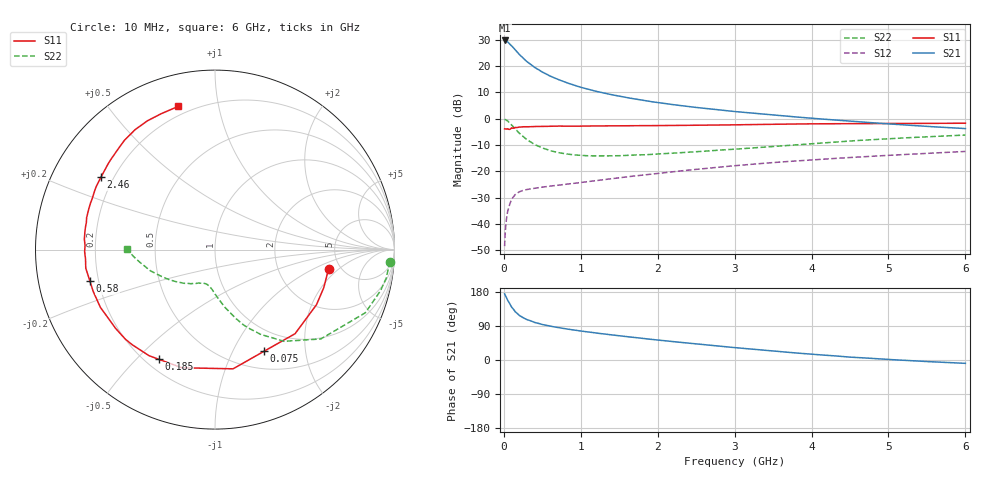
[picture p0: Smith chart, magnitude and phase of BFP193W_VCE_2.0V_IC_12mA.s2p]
! Infineon Technologies  Discrete & RF Semiconductors
! BFP193W
! VCE = 2.0 V,  IC =  12 mA
! Common Emitter S-Parameters:  Jan 2016
# GHz  S  MA  R  50
!  f  S11  S21  S12  S22
! GHz  MAG  ANG  MAG  ANG  MAG  ANG  MAG  ANG
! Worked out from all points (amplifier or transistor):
!   210 points, 10 MHz to 6 GHz, reference 50 ohm
!   highest |S21| = 29.8 dB at 10 MHz (marker M1)
!   |S21| within 3 dB of that: start of sweep to 130.6 MHz
!   unconditionally stable (mu >= 1): 1.175 GHz to 4.3 GHz
!   at 185 MHz: K = 0.25, MSG = 26.5 dB, |S12| = -28.0 dB
!   at 1.52 GHz: K = 1.09, MAG = 13.5 dB, |S12| = -22.3 dB
!   at 6 GHz: K = 0.93, MSG = 4.3 dB, |S12| = -12.4 dB
!   S11 on the Smith chart (normalised r, x): 10 MHz: 4.01, -1.48; 75 MHz: 0.71, -1.34; 185 MHz: 0.25, -0.58; 580 MHz: 0.17, -0.12; 2.46 GHz: 0.15, +0.28; 6 GHz: 0.15, +0.77
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0.01  0.6419 -9.7  30.79 174.5  0.0038 88.4  0.977 -3.9
0.02  0.642 -19.3  30.77 170.6  0.0076 80.3  0.967 -9.5
0.03  0.6436 -28.4  30.3 166.2  0.0112 78.4  0.95 -14.0
0.05  0.647 -46.4  28.98 157.5  0.0175 70.1  0.9085 -22.8
0.075  0.6289 -64.2  26.45 149.4  0.0233 61.1  0.8303 -30.8
0.1  0.6718 -81.4  24.56 139.8  0.0294 55.8  0.7713 -40.2
0.15  0.6839 -105.7  20.27 126.8  0.0367 45.9  0.639 -53.1
0.185  0.6866 -117.1  17.77 120.9  0.0396 41.9  0.5647 -58.9
0.2  0.696 -121.9  16.77 117.9  0.0409 40.4  0.535 -61.8
0.24  0.7028 -131.1  14.72 113.0  0.0431 37.4  0.475 -66.9
0.3  0.7066 -141.6  12.18 106.6  0.0453 34.6  0.4002 -73.2
0.4  0.7151 -153.3  9.479 99.1  0.048 32.7  0.3252 -80.4
0.58  0.7191 -165.9  6.735 90.3  0.0521 33.3  0.2546 -88.9
0.8  0.7233 -175.8  4.935 82.3  0.0569 36.0  0.2161 -95.7
1.02  0.7253 177.6  3.899 76.0  0.0621 38.9  0.2011 -101.5
1.4  0.7325 168.1  2.872 66.3  0.0728 43.2  0.1978 -108.7
2.02  0.7438 155.5  2.017 52.3  0.0927 47.1  0.2154 -118.9
2.46  0.7526 147.6  1.668 43.3  0.1081 47.8  0.2354 -126.4
3.1  0.7707 137.2  1.334 30.9  0.1321 46.9  0.2709 -137.7
4.1  0.8036 122.6  0.998 13.8  0.1695 42.7  0.3439 -155.6
5.1  0.8141 111.7  0.783 0.3  0.2057 37.6  0.4258 -170.6
6  0.8238 104.3  0.652 -8.8  0.2397 32.7  0.4909 179.6
